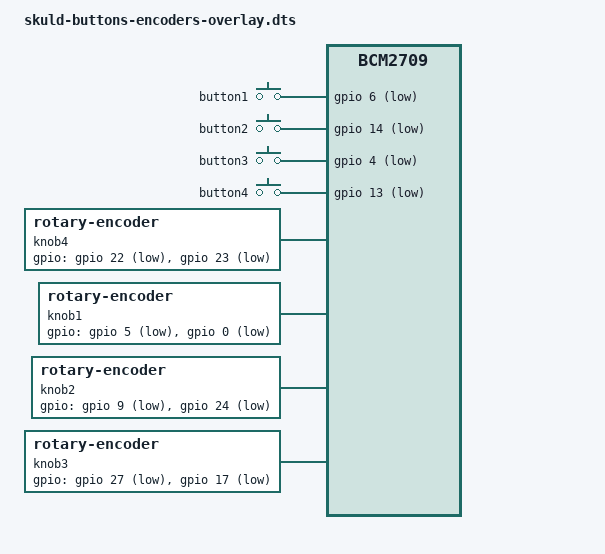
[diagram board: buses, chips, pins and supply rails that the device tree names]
/*
Device Tree overlay for Skuld Buttons and Encoders

Default pins (skuld v1.0):
Button 1 = 6
Button 2 = 14
Button 3 = 4
Button 4 = 13

Knob 1 = 5,  0
Knob 2 = 9,  24
Knob 3 = 27, 17
Knob 4 = 22, 23
*/

/dts-v1/;
/plugin/;

/ {
    compatible = "brcm,bcm2835", "brcm,bcm2708", "brcm,bcm2709";

    fragment@0 {
        target-path = "/soc/gpio";
        __overlay__ {
            knob_pins4: knob_pins4 {
                brcm,pins = <22 23>;
                brcm,function = <0>;
                brcm,pull = <2>;
            };
        };
    };

    fragment@1 {
        target-path = "/soc";
        __overlay__ {
            knob4: knob4 {
                compatible = "rotary-encoder";
                #address-cells = <1>;
                #size-cells = <0>;
                pinctrl-names = "default";
                pinctrl-0 = <&knob_pins4>;
                gpios = <&gpio 22 1>, <&gpio 23 1>;
                linux,axis = <0>; /* REL_X */
                rotary-encoder,relative-axis;
		            rotary-encoder,half-period;
            };
        };
    };
    //__overrides__ {
        //relative_axis =  <&knob>,"rotary-encoder,relative-axis";
        //linux_axis =  <&knob>,"linux,axis";
        //rollover =  <&knob>,"rotary-encoder,rollover";
        //half-period =  <&knob>,"rotary-encoder,half-period";
        //steps =  <&knob>,"rotary-encoder,steps";
    //};

    fragment@2 {
        target-path = "/soc/gpio";
        __overlay__ {
            knob_pins1: knob_pins1 {
                brcm,pins = <5 0>;
                brcm,function = <0>;
                brcm,pull = <2>;
            };
        };
    };

    fragment@3 {
        target-path = "/soc";
        __overlay__ {
            knob1: knob1 {
                compatible = "rotary-encoder";
                #address-cells = <1>;
                #size-cells = <0>;
                pinctrl-names = "default";
                pinctrl-0 = <&knob_pins1>;
                gpios = <&gpio 5 1>, <&gpio 0 1>;
                linux,axis = <0>; /* REL_X */
                rotary-encoder,relative-axis;
		            rotary-encoder,half-period;
            };
        };
    };
    //__overrides__ {
        //relative_axis =  <&knob>,"rotary-encoder,relative-axis";
        //linux_axis =  <&knob>,"linux,axis";
        //rollover =  <&knob>,"rotary-encoder,rollover";
        //half-period =  <&knob>,"rotary-encoder,half-period";
        //steps =  <&knob>,"rotary-encoder,steps";
    //};

    fragment@4 {
        target-path = "/soc/gpio";
        __overlay__ {
            knob_pins2: knob_pins2 {
                brcm,pins = <9 24>;
                brcm,function = <0>;
                brcm,pull = <2>;
            };
        };
    };

    fragment@5 {
        target-path = "/soc";
        __overlay__ {
            knob2: knob2 {
                compatible = "rotary-encoder";
                #address-cells = <1>;
                #size-cells = <0>;
                pinctrl-names = "default";
                pinctrl-0 = <&knob_pins2>;
                gpios = <&gpio 9 1>, <&gpio 24 1>;
                linux,axis = <0>; /* REL_X */
                rotary-encoder,relative-axis;
		rotary-encoder,half-period;
            };
        };
    };
    //__overrides__ {
        //relative_axis =  <&knob>,"rotary-encoder,relative-axis";
        //linux_axis =  <&knob>,"linux,axis";
        //rollover =  <&knob>,"rotary-encoder,rollover";
        //half-period =  <&knob>,"rotary-encoder,half-period";
        //steps =  <&knob>,"rotary-encoder,steps";
    //};

    fragment@6 {
        target-path = "/soc/gpio";
        __overlay__ {
            knob_pins3: knob_pins3 {
                brcm,pins = <27 17>;
                brcm,function = <0>;
                brcm,pull = <2>;
            };
        };
    };

    fragment@7 {
        target-path = "/soc";
        __overlay__ {
            knob3: knob3 {
                compatible = "rotary-encoder";
                #address-cells = <1>;
                #size-cells = <0>;
                pinctrl-names = "default";
                pinctrl-0 = <&knob_pins3>;
                gpios = <&gpio 27 1>, <&gpio 17 1>;
                linux,axis = <0>; /* REL_X */
                rotary-encoder,relative-axis;
		            rotary-encoder,half-period;
            };
        };
    };
    //__overrides__ {
        //relative_axis =  <&knob>,"rotary-encoder,relative-axis";
        //linux_axis =  <&knob>,"linux,axis";
        //rollover =  <&knob>,"rotary-encoder,rollover";
        //half-period =  <&knob>,"rotary-encoder,half-period";
        //steps =  <&knob>,"rotary-encoder,steps";
    //};

    fragment@8 {
       target-path = "/";
       __overlay__ {
          keypad: keys {
             compatible = "gpio-keys";
             #address-cells = <1>;
             #size-cells = <0>;
             button1: buton1 {
                linux,code = <1>;
                gpios = <&gpio 6 1>;
             };
             button2: buton2 {
                linux,code = <2>;
                gpios = <&gpio 14 1>;
             };
             button3: buton3 {
                linux,code = <3>;
                gpios = <&gpio 4 1>;
             };
             button4: buton4 {
                linux,code = <4>;
                gpios = <&gpio 13 1>;
             };
          };
       };
    };
    __overrides__ {
        e1_pin_a = <&knob_pins1>,"brcm,pins:0",
                   <&knob1>,"gpios:4";
        e1_pin_b = <&knob_pins1>,"brcm,pins:4",
                   <&knob1>,"gpios:16";
        e2_pin_a = <&knob_pins2>,"brcm,pins:0",
                   <&knob2>,"gpios:4";
        e2_pin_b = <&knob_pins2>,"brcm,pins:4",
                   <&knob2>,"gpios:16";
        e3_pin_a = <&knob_pins3>,"brcm,pins:0",
                   <&knob3>,"gpios:4";
        e3_pin_b = <&knob_pins3>,"brcm,pins:4",
                   <&knob3>,"gpios:16";
        b1_pin = <&button1>, "gpios:4";
        b2_pin = <&button2>, "gpios:4";
        b3_pin = <&button3>, "gpios:4";
        b4_pin = <&button4>, "gpios:4";
    };
};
